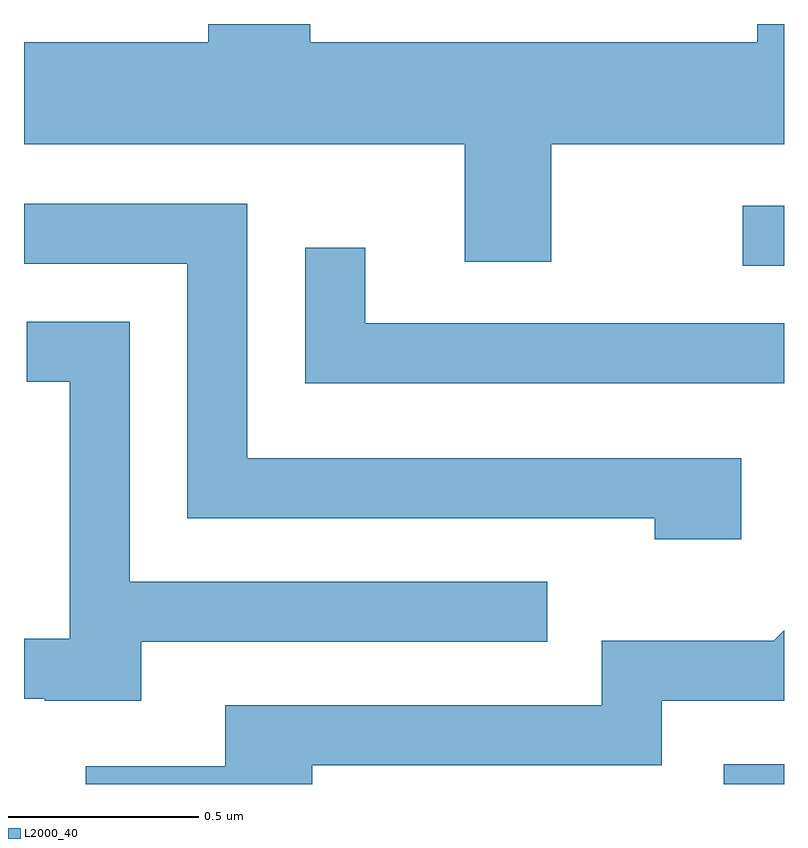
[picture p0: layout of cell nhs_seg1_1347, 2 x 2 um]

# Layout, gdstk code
import gdstk
lib = gdstk.Library(unit=1e-6, precision=1e-09)
def R(c, l, rs):  # rectangles x0, y0, x1, y1
    for r in rs: c.add(gdstk.rectangle(r[:2], r[2:], *l))
def P(c, l, *ps):  # polygons
    for p in ps: c.add(gdstk.Polygon(p, *l))
L2000_40 = (2000, 40)

nhs_seg1_1347 = lib.new_cell('nhs_seg1_1347')
R(nhs_seg1_1347, L2000_40, [(196.453,966.712,196.611,966.764), (196.503,968.076,196.611,968.234)])
P(nhs_seg1_1347, L2000_40, [(195.999,968.396),(196.611,968.396),(196.611,968.712),(196.541,968.712),(196.541,968.664),(195.364,968.664),(195.364,968.712),(195.096,968.712),(195.096,968.664),(194.611,968.664),(194.611,968.396),(195.771,968.396),(195.771,968.086),(195.999,968.086)],
  [(196.499,967.569),(195.199,967.569),(195.199,968.239),(194.611,968.239),(194.611,968.081),(195.041,968.081),(195.041,967.411),(196.271,967.411),(196.271,967.356),(196.499,967.356)],
  [(196.611,967.924),(195.509,967.924),(195.509,968.123),(195.351,968.123),(195.351,967.766),(196.611,967.766)],
  [(194.919,967.086),(195.988,967.086),(195.988,967.244),(194.889,967.244),(194.889,967.929),(194.618,967.929),(194.618,967.771),(194.731,967.771),(194.731,967.094),(194.611,967.094),(194.611,966.936),(194.665,966.936),(194.665,966.931),(194.919,966.931)],
  [(195.369,966.761),(196.289,966.761),(196.289,966.931),(196.611,966.931),(196.611,967.116),(196.584,967.089),(196.131,967.089),(196.131,966.919),(195.141,966.919),(195.141,966.759),(194.773,966.759),(194.773,966.712),(195.369,966.712)])

lib.write_gds('nhs_seg1_1347.gds')
